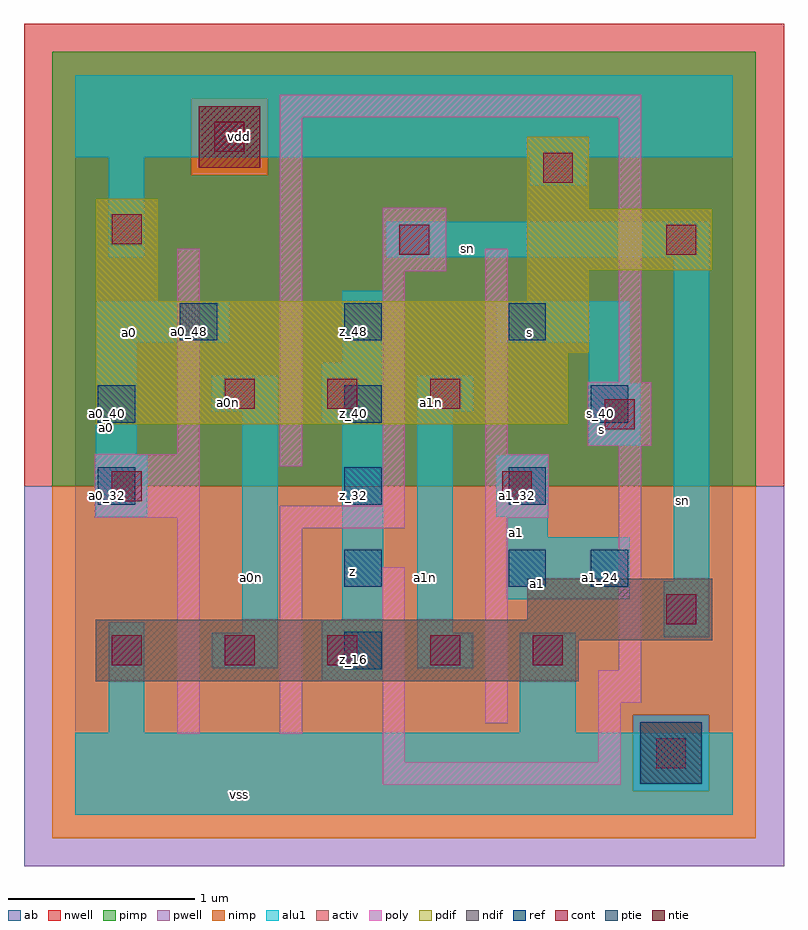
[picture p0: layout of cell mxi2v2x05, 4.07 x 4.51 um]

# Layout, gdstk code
import gdstk
lib = gdstk.Library(unit=1e-6, precision=2.5e-09)
def R(c, l, rs):  # rectangles x0, y0, x1, y1
    for r in rs: c.add(gdstk.rectangle(r[:2], r[2:], *l))
def A(c, l, x, y, w, h, nx, ny, dx, dy):  # array of equal rectangles
    R(c, l, [(x+i*dx, y+j*dy, x+i*dx+w, y+j*dy+h) for i in range(nx) for j in range(ny)])
ndif = (3, 0)
pdif = (4, 0)
ntie = (5, 0)
ptie = (6, 0)
ref = (24, 0)
cont = (25, 0)
pwell = (41, 0)
nwell = (42, 0)
activ = (43, 0)
pimp = (44, 0)
nimp = (45, 0)
poly = (46, 0)
alu1 = (49, 0)
ab = (63, 0)

mxi2v2x05 = lib.new_cell('mxi2v2x05')
R(mxi2v2x05, ndif, [(0.11,0.715,2.695,0.935), (0.11,0.935,3.41,1.045), (2.42,1.045,3.41,1.265)])
R(mxi2v2x05, pdif, [(0.11,2.09,2.64,2.475), (0.11,2.475,2.75,2.75), (0.11,2.75,0.44,3.3), (2.42,2.75,2.75,2.915), (2.42,2.915,3.41,3.245), (2.42,3.245,2.75,3.63)])
R(mxi2v2x05, ntie, [(0.66,3.465,0.99,3.795)])
R(mxi2v2x05, ptie, [(3.025,0.165,3.355,0.495)])
A(mxi2v2x05, ref, 1.44, 0.78, 0.2, 0.2, 1, 3, 0, 0.44)
A(mxi2v2x05, ref, 0.12, 2.1, 0.2, 0.2, 3, 1, 1.32, 0)
A(mxi2v2x05, ref, 0.56, 2.54, 0.2, 0.2, 3, 1, 0.88, 0)
R(mxi2v2x05, ref, [(2.32,1.22,2.52,1.42), (2.76,1.22,2.96,1.42), (0.12,1.66,0.32,1.86), (2.32,1.66,2.52,1.86)])
A(mxi2v2x05, cont, 0.8, 0.8, 0.16, 0.16, 4, 1, 0.55, 0)
A(mxi2v2x05, cont, 0.8, 2.175, 0.16, 0.16, 3, 1, 0.55, 0)
R(mxi2v2x05, cont, [(3.11,0.25,3.27,0.41), (0.195,0.8,0.355,0.96), (3.165,1.02,3.325,1.18), (0.195,1.68,0.355,1.84), (2.285,1.68,2.445,1.84), (2.835,2.065,2.995,2.225), (1.735,3,1.895,3.16), (3.165,3,3.325,3.16), (0.195,3.055,0.355,3.215), (2.505,3.385,2.665,3.545), (0.745,3.55,0.905,3.71)])
R(mxi2v2x05, pwell, [(-0.275,-0.275,3.795,1.76)])
R(mxi2v2x05, nwell, [(-0.275,1.76,3.795,4.235)])
R(mxi2v2x05, activ, [(3.025,0.165,3.355,0.495), (0.11,0.715,2.695,0.935), (0.11,0.935,3.41,1.045), (2.42,1.045,3.41,1.265), (0.11,2.09,2.64,2.475), (0.11,2.475,2.75,2.75), (0.11,2.75,0.44,3.3), (2.42,2.75,2.75,2.915), (2.42,2.915,3.41,3.245), (2.42,3.245,2.75,3.63), (0.66,3.465,0.99,3.795)])
R(mxi2v2x05, pimp, [(2.985,0.125,3.395,0.535), (-0.125,1.76,3.645,3.425), (-0.125,3.425,0.62,3.835), (1.03,3.425,3.645,3.835), (-0.125,3.835,3.645,4.085)])
R(mxi2v2x05, nimp, [(-0.125,-0.125,3.645,0.125), (-0.125,0.125,2.985,0.535), (3.395,0.125,3.645,0.535), (-0.125,0.535,3.645,1.76), (0.62,3.425,1.03,3.835)])
R(mxi2v2x05, poly, [(1.645,0.16,2.92,0.28), (1.645,0.28,1.765,1.325), (2.8,0.28,2.92,0.6), (0.545,0.435,0.665,1.59), (1.095,0.435,1.215,1.535), (2.195,0.49,2.315,1.59), (2.8,0.6,3.03,0.775), (2.91,0.775,3.03,1.975), (1.095,1.535,1.765,1.655), (0.105,1.59,0.665,1.93), (2.195,1.59,2.535,1.93), (1.645,1.655,1.765,2.91), (1.095,1.865,1.215,3.735), (0.545,1.93,0.665,3.03), (2.195,1.93,2.315,3.03), (2.745,1.975,3.085,2.315), (2.91,2.315,3.03,3.735), (1.645,2.91,1.985,3.25), (1.095,3.735,3.03,3.855)])
R(mxi2v2x05, alu1, [(0,0,3.52,0.44), (0.18,0.44,0.37,1.03), (2.38,0.44,2.68,0.975), (1.32,0.715,1.65,1.045), (0.73,0.785,1.085,0.975), (1.83,0.785,2.13,0.975), (3.15,0.95,3.395,1.25), (0.895,0.975,1.085,2.16), (1.83,0.975,2.02,2.16), (1.43,1.045,1.65,2.09), (2.31,1.155,2.97,1.485), (3.205,1.25,3.395,2.985), (2.31,1.485,2.53,1.595), (0.11,1.595,0.385,1.925), (2.255,1.595,2.53,1.925), (0.11,1.925,0.33,2.53), (2.75,1.98,3.025,2.31), (1.32,2.09,1.65,2.42), (0.73,2.16,1.085,2.35), (1.83,2.16,2.13,2.35), (2.75,2.31,2.97,2.53), (1.43,2.42,1.65,2.805), (0.11,2.53,0.825,2.75), (2.255,2.53,2.97,2.75), (0.18,2.985,0.37,3.52), (1.665,2.985,3.395,3.175), (2.435,3.37,2.735,3.52), (0,3.52,3.52,3.96)])
R(mxi2v2x05, ab, [(0,0,3.52,3.96)])
mxi2v2x05.add(gdstk.Label('vss', (0.88,0.11), layer=49, texttype=0))
mxi2v2x05.add(gdstk.Label('sn', (3.2525,1.6825), layer=49, texttype=0))
mxi2v2x05.add(gdstk.Label('a1', (2.475,1.2375), layer=49, texttype=0))
mxi2v2x05.add(gdstk.Label('a1', (2.365,1.5125), layer=49, texttype=0))
mxi2v2x05.add(gdstk.Label('s', (2.8175,2.0625), layer=49, texttype=0))
mxi2v2x05.add(gdstk.Label('a1n', (1.8775,1.27), layer=49, texttype=0))
mxi2v2x05.add(gdstk.Label('a1n', (1.905,2.2075), layer=49, texttype=0))
mxi2v2x05.add(gdstk.Label('z', (1.485,1.305), layer=49, texttype=0))
mxi2v2x05.add(gdstk.Label('a0n', (0.9425,1.27), layer=49, texttype=0))
mxi2v2x05.add(gdstk.Label('a0n', (0.8175,2.2075), layer=49, texttype=0))
mxi2v2x05.add(gdstk.Label('s', (2.4325,2.585), layer=49, texttype=0))
mxi2v2x05.add(gdstk.Label('a0', (0.165,2.075), layer=49, texttype=0))
mxi2v2x05.add(gdstk.Label('a0', (0.2875,2.585), layer=49, texttype=0))
mxi2v2x05.add(gdstk.Label('sn', (2.0975,3.0325), layer=49, texttype=0))
mxi2v2x05.add(gdstk.Label('vdd', (0.88,3.63), layer=49, texttype=0))
mxi2v2x05.add(gdstk.Label('a0_48', (0.61,2.59), layer=24, texttype=0))
mxi2v2x05.add(gdstk.Label('z_40', (1.49,2.15), layer=24, texttype=0))
mxi2v2x05.add(gdstk.Label('z_48', (1.49,2.59), layer=24, texttype=0))
mxi2v2x05.add(gdstk.Label('a1_32', (2.37,1.71), layer=24, texttype=0))
mxi2v2x05.add(gdstk.Label('a1_24', (2.81,1.27), layer=24, texttype=0))
mxi2v2x05.add(gdstk.Label('s_48', (2.37,2.59), layer=24, texttype=0))
mxi2v2x05.add(gdstk.Label('s_40', (2.81,2.15), layer=24, texttype=0))
mxi2v2x05.add(gdstk.Label('z_32', (1.49,1.71), layer=24, texttype=0))
mxi2v2x05.add(gdstk.Label('z_24', (1.49,1.27), layer=24, texttype=0))
mxi2v2x05.add(gdstk.Label('z_16', (1.49,0.83), layer=24, texttype=0))
mxi2v2x05.add(gdstk.Label('a0_32', (0.17,1.71), layer=24, texttype=0))
mxi2v2x05.add(gdstk.Label('a1_24', (2.37,1.27), layer=24, texttype=0))
mxi2v2x05.add(gdstk.Label('a0_40', (0.17,2.15), layer=24, texttype=0))

lib.write_gds('mxi2v2x05.gds')
